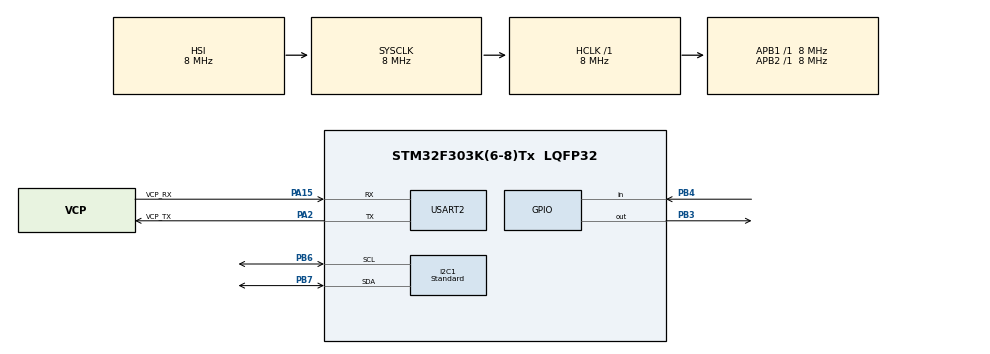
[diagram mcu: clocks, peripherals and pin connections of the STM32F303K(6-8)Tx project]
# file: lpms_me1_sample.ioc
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I2C1.I2C_Speed_Mode=I2C_Standard
Mcu.Family=STM32F3
Mcu.Name=STM32F303K(6-8)Tx
Mcu.Package=LQFP32
NVIC.PriorityGroup=NVIC_PRIORITYGROUP_4
PA13.GPIO_Label=SWDIO
PA13.Mode=Serial_Wire
PA13.Signal=SYS_JTMS-SWDIO
PA14.GPIO_Label=SWCLK
PA14.Mode=Serial_Wire
PA14.Signal=SYS_JTCK-SWCLK
PA15.GPIO_Label=VCP_RX
PA15.Mode=Asynchronous
PA15.Signal=USART2_RX
PA2.GPIO_Label=VCP_TX
PA2.Mode=Asynchronous
PA2.Signal=USART2_TX
PB3.Signal=GPIO_Output
PB4.Signal=GPIO_Input
PB6.Mode=I2C
PB6.Signal=I2C1_SCL
PB7.Mode=I2C
PB7.Signal=I2C1_SDA
PF0\ /\ OSC_IN.GPIO_Label=MCO
PF0\ /\ OSC_IN.Mode=HSE-External-Clock-Source
PF0\ /\ OSC_IN.Signal=RCC_OSC_IN
ProjectManager.HeapSize=0x200
ProjectManager.StackSize=0x400
ProjectManager.TargetToolchain=STM32CubeIDE
RCC.AHBFreq_Value=8000000
RCC.APB1Freq_Value=8000000
RCC.APB2Freq_Value=8000000
RCC.CortexFreq_Value=8000000
RCC.HSE_VALUE=8000000
RCC.HSI_VALUE=8000000
RCC.SYSCLKFreq_VALUE=8000000
USART2.VirtualMode-Asynchronous=VM_ASYNC
board=NUCLEO-F303K8

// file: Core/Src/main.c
/* USER CODE BEGIN Header */
/**
  ******************************************************************************
  * @file           : main.c
  * @brief          : Main program body
  ******************************************************************************
  * @attention
  *
  * <h2><center>&copy; Copyright (c) 2020 STMicroelectronics.
  * All rights reserved.</center></h2>
  *
  * This software component is licensed by ST under BSD 3-Clause license,
  * the "License"; You may not use this file except in compliance with the
  * License. You may obtain a copy of the License at:
  *                        opensource.org/licenses/BSD-3-Clause
  *
  ******************************************************************************
  */
/* USER CODE END Header */

#include "main.h"
#include "i2c.h"
#include "usart.h"
#include "gpio.h"

/* USER CODE BEGIN Includes */
#include <stdio.h>
#include "lpme1_driver.h"
#include "lpme1.h"
/* USER CODE END Includes */

/* USER CODE BEGIN PD */

//Enable printf
#ifdef __GNUC__
  /* With GCC/RAISONANCE, small printf (option LD Linker->Libraries->Small printf
     set to 'Yes') calls __io_putchar() */
  #define PUTCHAR_PROTOTYPE int __io_putchar(int ch)
#else
  #define PUTCHAR_PROTOTYPE int fputc(int ch, FILE *f)
#endif /* __GNUC__ */

/* USER CODE END PD */

void SystemClock_Config(void);

/* USER CODE BEGIN 0 */
PUTCHAR_PROTOTYPE
{
 HAL_UART_Transmit(&huart2, (uint8_t *)&ch, 1, 0xFFFF);
 return ch;
}

Lpme1_Data lpme1Data;

/* USER CODE END 0 */

int main(void)
{

  /* MCU Configuration--------------------------------------------------------*/

  /* Reset of all peripherals, Initializes the Flash interface and the Systick. */
  HAL_Init();

  /* Configure the system clock */
  SystemClock_Config();

  /* Initialize all configured peripherals */
  MX_GPIO_Init();
  MX_USART2_UART_Init();
  MX_I2C1_Init();

  /* Infinite loop */
  while (1)
  {

    /* USER CODE BEGIN 3 */

	if(lpme1_get_timestamp(&lpme1Data.time)==LPME1_OK) HAL_GPIO_TogglePin(GPIOB, GPIO_PIN_3);	//For instant visual debug
	lpme1_get_acc(lpme1Data.acc);
	lpme1_get_gyr(lpme1Data.gyr);
	lpme1_get_mag(lpme1Data.mag);
	lpme1_get_euler(lpme1Data.euler);
	lpme1_get_quat(lpme1Data.quat);

	/*
	 * Caution!
	 * When you use float type printf/scanf function, you need to be careful about MCU setting properties.
	 * In Project -> properties -> C/C++ Build -> Settings -> Tool Settings ->MCU settings,
	 * check "Use float with printf/scanf from newlib-nano".
	 */

	printf("Timestamp: %.3f \r\n",lpme1Data.time);
	printf("Acc[G]\tX: %.3f\tY: %.3f\tZ: %.3f\t \r\n",lpme1Data.acc[0],lpme1Data.acc[1],lpme1Data.acc[2]);
	printf("Gyr[rad/s]\tX: %.3f\tY: %.3f\tZ: %.3f\t \r\n",lpme1Data.gyr[0],lpme1Data.gyr[1],lpme1Data.gyr[2]);
	printf("Mag[?]\tX: %.3f\tY: %.3f\tZ: %.3f\t \r\n",lpme1Data.mag[0],lpme1Data.mag[1],lpme1Data.mag[2]);
	printf("Euler[rad]\tX: %f\tY: %f\tZ: %f\t \r\n",lpme1Data.euler[0],lpme1Data.euler[1],lpme1Data.euler[2]);
	printf("Quat:\tW: %f\tX: %f\tY: %f\tZ: %f\t  \r\n",lpme1Data.quat[0],lpme1Data.quat[1],lpme1Data.quat[2],lpme1Data.quat[3]);
	printf("\r\n");
	HAL_Delay(1000);
  }
  /* USER CODE END 3 */
}

void SystemClock_Config(void)
{
  RCC_OscInitTypeDef RCC_OscInitStruct = {0};
  RCC_ClkInitTypeDef RCC_ClkInitStruct = {0};
  RCC_PeriphCLKInitTypeDef PeriphClkInit = {0};

  /** Initializes the CPU, AHB and APB busses clocks
  */
  RCC_OscInitStruct.OscillatorType = RCC_OSCILLATORTYPE_HSI;
  RCC_OscInitStruct.HSIState = RCC_HSI_ON;
  RCC_OscInitStruct.HSICalibrationValue = RCC_HSICALIBRATION_DEFAULT;
  RCC_OscInitStruct.PLL.PLLState = RCC_PLL_NONE;
  if (HAL_RCC_OscConfig(&RCC_OscInitStruct) != HAL_OK)
  {
    Error_Handler();
  }
  /** Initializes the CPU, AHB and APB busses clocks
  */
  RCC_ClkInitStruct.ClockType = RCC_CLOCKTYPE_HCLK|RCC_CLOCKTYPE_SYSCLK
                              |RCC_CLOCKTYPE_PCLK1|RCC_CLOCKTYPE_PCLK2;
  RCC_ClkInitStruct.SYSCLKSource = RCC_SYSCLKSOURCE_HSI;
  RCC_ClkInitStruct.AHBCLKDivider = RCC_SYSCLK_DIV1;
  RCC_ClkInitStruct.APB1CLKDivider = RCC_HCLK_DIV1;
  RCC_ClkInitStruct.APB2CLKDivider = RCC_HCLK_DIV1;

  if (HAL_RCC_ClockConfig(&RCC_ClkInitStruct, FLASH_LATENCY_0) != HAL_OK)
  {
    Error_Handler();
  }
  PeriphClkInit.PeriphClockSelection = RCC_PERIPHCLK_I2C1;
  PeriphClkInit.I2c1ClockSelection = RCC_I2C1CLKSOURCE_HSI;
  if (HAL_RCCEx_PeriphCLKConfig(&PeriphClkInit) != HAL_OK)
  {
    Error_Handler();
  }
}

void Error_Handler(void)
{
}

/************************ (C) COPYRIGHT STMicroelectronics *****END OF FILE****/
